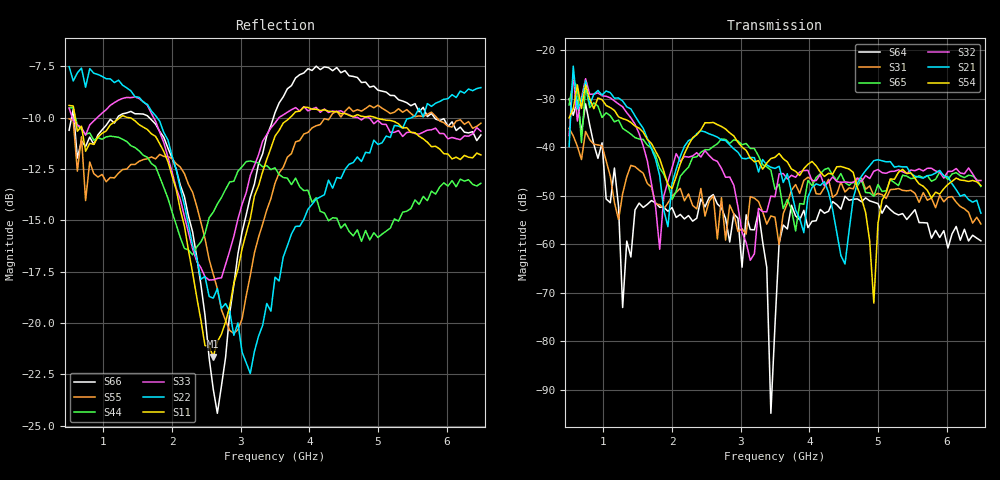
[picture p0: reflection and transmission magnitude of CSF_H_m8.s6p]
!Keysight Technologies,M9804A,MY58100912,A.14.10.03
!Date: Thursday, April 27, 2023 10:28:33
!Correction: S11(C  6-Port  )
!S12(C  6-Port  )
!S13(C  6-Port  )
!S14(C  6-Port  )
!S15(C  6-Port  )
!S16(C  6-Port  )
!S21(C  6-Port  )
!S22(C  6-Port  )
!S23(C  6-Port  )
!S24(C  6-Port  )
!S25(C  6-Port  )
!S26(C  6-Port  )
!S31(C  6-Port  )
!S32(C  6-Port  )
!S33(C  6-Port  )
!S34(C  6-Port  )
!S35(C  6-Port  )
!S36(C  6-Port  )
!S41(C  6-Port  )
!S42(C  6-Port  )
!S43(C  6-Port  )
!S44(C  6-Port  )
!S45(C  6-Port  )
!S46(C  6-Port  )
!S51(C  6-Port  )
!S52(C  6-Port  )
!S53(C  6-Port  )
!S54(C  6-Port  )
!S55(C  6-Port  )
!S56(C  6-Port  )
!S61(C  6-Port  )
!S62(C  6-Port  )
!S63(C  6-Port  )
!S64(C  6-Port  )
!S65(C  6-Port  )
!S66(C  6-Port  )
!S6P File: Measurement: :
# Hz S  RI  R 50
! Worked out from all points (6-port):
!   101 points, 500 MHz to 6.5 GHz, reference 50 ohm
!   strongest paths, dB at 500 MHz, 2 GHz, 3.5 GHz, 5 GHz, 6.5 GHz:
!     S54: -34.0, -48.6, -42.1, -55.8, -47.9
!     S21: -39.9, -47.5, -44.4, -42.6, -53.6
!     S32: -37.7, -44.3, -50.3, -44.6, -46.9
!     S65: -31.3, -50.8, -48.7, -47.7, -48.1
!     S31: -36.2, -50.1, -54.5, -49.6, -55.8
!     S64: -30.1, -52.5, -76.7, -51.7, -59.3
!   lowest |S11| = -21.6 dB at 2.6 GHz (marker M1), VSWR 1.18, Z = 42.6 + j1.98 ohm
!   |S11| at or under -10 dB: 587.9 MHz to 1.239 GHz (651.4 MHz wide, 71.3 % of centre); 1.386 GHz to 3.716 GHz (2.33 GHz wide, 91.3 % of centre); 4.971 GHz to end of sweep
